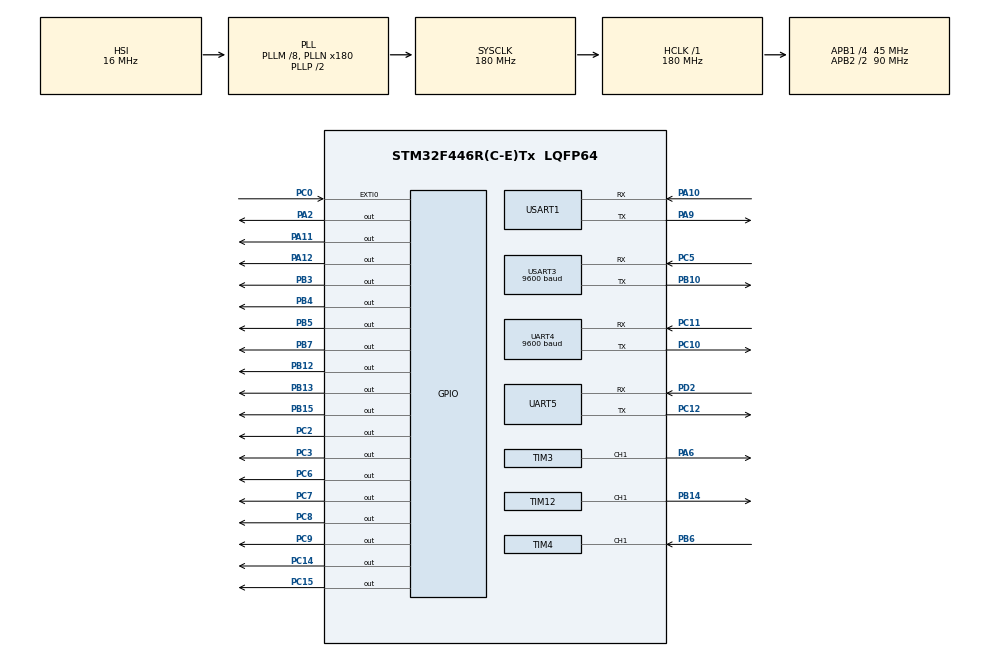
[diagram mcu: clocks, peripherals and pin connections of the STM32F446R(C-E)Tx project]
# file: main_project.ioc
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Dma.Request0=USART1_RX
Dma.Request1=USART1_TX
Dma.Request2=USART3_RX
Dma.Request3=UART4_RX
Dma.Request4=UART4_TX
Dma.UART4_RX.3.Direction=DMA_PERIPH_TO_MEMORY
Dma.UART4_RX.3.FIFOMode=DMA_FIFOMODE_DISABLE
Dma.UART4_RX.3.Instance=DMA1_Stream2
Dma.UART4_RX.3.MemDataAlignment=DMA_MDATAALIGN_BYTE
Dma.UART4_RX.3.MemInc=DMA_MINC_ENABLE
Dma.UART4_RX.3.Mode=DMA_NORMAL
Dma.UART4_RX.3.PeriphDataAlignment=DMA_PDATAALIGN_BYTE
Dma.UART4_RX.3.PeriphInc=DMA_PINC_DISABLE
Dma.UART4_RX.3.Priority=DMA_PRIORITY_LOW
Dma.UART4_TX.4.Direction=DMA_MEMORY_TO_PERIPH
Dma.UART4_TX.4.FIFOMode=DMA_FIFOMODE_DISABLE
Dma.UART4_TX.4.Instance=DMA1_Stream4
Dma.UART4_TX.4.MemDataAlignment=DMA_MDATAALIGN_BYTE
Dma.UART4_TX.4.MemInc=DMA_MINC_ENABLE
Dma.UART4_TX.4.Mode=DMA_NORMAL
Dma.UART4_TX.4.PeriphDataAlignment=DMA_PDATAALIGN_BYTE
Dma.UART4_TX.4.PeriphInc=DMA_PINC_DISABLE
Dma.UART4_TX.4.Priority=DMA_PRIORITY_LOW
Dma.USART1_RX.0.Direction=DMA_PERIPH_TO_MEMORY
Dma.USART1_RX.0.FIFOMode=DMA_FIFOMODE_DISABLE
Dma.USART1_RX.0.Instance=DMA2_Stream2
Dma.USART1_RX.0.MemDataAlignment=DMA_MDATAALIGN_BYTE
Dma.USART1_RX.0.MemInc=DMA_MINC_ENABLE
Dma.USART1_RX.0.Mode=DMA_NORMAL
Dma.USART1_RX.0.PeriphDataAlignment=DMA_PDATAALIGN_BYTE
Dma.USART1_RX.0.PeriphInc=DMA_PINC_DISABLE
Dma.USART1_RX.0.Priority=DMA_PRIORITY_LOW
Dma.USART1_TX.1.Direction=DMA_MEMORY_TO_PERIPH
Dma.USART1_TX.1.FIFOMode=DMA_FIFOMODE_DISABLE
Dma.USART1_TX.1.Instance=DMA2_Stream7
Dma.USART1_TX.1.MemDataAlignment=DMA_MDATAALIGN_BYTE
Dma.USART1_TX.1.MemInc=DMA_MINC_ENABLE
Dma.USART1_TX.1.Mode=DMA_NORMAL
Dma.USART1_TX.1.PeriphDataAlignment=DMA_PDATAALIGN_BYTE
Dma.USART1_TX.1.PeriphInc=DMA_PINC_DISABLE
Dma.USART1_TX.1.Priority=DMA_PRIORITY_LOW
Dma.USART3_RX.2.Direction=DMA_PERIPH_TO_MEMORY
Dma.USART3_RX.2.FIFOMode=DMA_FIFOMODE_DISABLE
Dma.USART3_RX.2.Instance=DMA1_Stream1
Dma.USART3_RX.2.MemDataAlignment=DMA_MDATAALIGN_BYTE
Dma.USART3_RX.2.MemInc=DMA_MINC_ENABLE
Dma.USART3_RX.2.Mode=DMA_NORMAL
Dma.USART3_RX.2.PeriphDataAlignment=DMA_PDATAALIGN_BYTE
Dma.USART3_RX.2.PeriphInc=DMA_PINC_DISABLE
Dma.USART3_RX.2.Priority=DMA_PRIORITY_MEDIUM
FREERTOS.INCLUDE_vTaskDelayUntil=1
FREERTOS.Tasks01=defaultTask,0,128,StartDefaultTask,Default,NULL,Dynamic,NULL,NULL
FREERTOS.configMAX_PRIORITIES=8
FREERTOS.configUSE_NEWLIB_REENTRANT=1
Mcu.Family=STM32F4
Mcu.Name=STM32F446R(C-E)Tx
Mcu.Package=LQFP64
NVIC.DMA1_Stream1_IRQn=true\:5\:0\:false\:false\:true\:true\:false\:true\:true
NVIC.DMA1_Stream2_IRQn=true\:5\:0\:false\:false\:true\:true\:false\:true\:true
NVIC.DMA1_Stream4_IRQn=true\:5\:0\:false\:false\:true\:true\:false\:true\:true
NVIC.DMA2_Stream2_IRQn=true\:5\:0\:false\:false\:true\:true\:false\:true\:true
NVIC.DMA2_Stream7_IRQn=true\:5\:0\:false\:false\:true\:true\:false\:true\:true
NVIC.EXTI0_IRQn=true\:5\:0\:false\:false\:true\:true\:true\:true\:true
NVIC.PriorityGroup=NVIC_PRIORITYGROUP_4
NVIC.TIM1_UP_TIM10_IRQn=true\:15\:0\:false\:false\:true\:false\:false\:true\:true
NVIC.TIM4_IRQn=true\:5\:0\:false\:false\:true\:true\:true\:true\:true
NVIC.TimeBase=TIM1_UP_TIM10_IRQn
NVIC.TimeBaseIP=TIM1
NVIC.UART4_IRQn=true\:5\:0\:false\:false\:true\:true\:true\:true\:true
NVIC.UART5_IRQn=true\:5\:0\:false\:false\:true\:true\:true\:true\:true
NVIC.USART1_IRQn=true\:5\:0\:false\:false\:true\:true\:true\:true\:true
PA10.Mode=Asynchronous
PA10.Signal=USART1_RX
PA11.Signal=GPIO_Output
PA12.Signal=GPIO_Output
PA2.Signal=GPIO_Output
PA6.Signal=S_TIM3_CH1
PA9.Mode=Asynchronous
PA9.Signal=USART1_TX
PB10.Mode=Asynchronous
PB10.Signal=USART3_TX
PB12.Signal=GPIO_Output
PB13.Signal=GPIO_Output
PB14.Signal=S_TIM12_CH1
PB15.Signal=GPIO_Output
PB3.Signal=GPIO_Output
PB4.Signal=GPIO_Output
PB5.Signal=GPIO_Output
PB6.Signal=S_TIM4_CH1
PB7.Signal=GPIO_Output
PC0.Signal=GPXTI0
PC10.Mode=Asynchronous
PC10.Signal=UART4_TX
PC11.Mode=Asynchronous
PC11.Signal=UART4_RX
PC12.Mode=Asynchronous
PC12.Signal=UART5_TX
PC14-OSC32_IN.Signal=GPIO_Output
PC15-OSC32_OUT.Signal=GPIO_Output
PC2.Signal=GPIO_Output
PC3.Signal=GPIO_Output
PC5.Mode=Asynchronous
PC5.Signal=USART3_RX
PC6.Signal=GPIO_Output
PC7.Signal=GPIO_Output
PC8.Signal=GPIO_Output
PC9.Signal=GPIO_Output
PD2.Mode=Asynchronous
PD2.Signal=UART5_RX
ProjectManager.HeapSize=0x200
ProjectManager.StackSize=0x400
ProjectManager.TargetToolchain=STM32CubeIDE
RCC.AHBFreq_Value=180000000
RCC.APB1CLKDivider=RCC_HCLK_DIV4
RCC.APB1Freq_Value=45000000
RCC.APB1TimFreq_Value=90000000
RCC.APB2CLKDivider=RCC_HCLK_DIV2
RCC.APB2Freq_Value=90000000
RCC.APB2TimFreq_Value=180000000
RCC.CortexFreq_Value=180000000
RCC.FLatency-AdvancedSettings=FLASH_LATENCY_5
RCC.HCLKFreq_Value=180000000
RCC.HSE_VALUE=8000000
RCC.HSI_VALUE=16000000
RCC.LSE_VALUE=32768
RCC.PLLM=8
RCC.PLLN=180
RCC.SYSCLKFreq_VALUE=180000000
RCC.SYSCLKSource=RCC_SYSCLKSOURCE_PLLCLK
RCC.USBFreq_Value=180000000
RCC.VCOOutputFreq_Value=360000000
SH.S_TIM12_CH1.0=TIM12_CH1,PWM Generation1 CH1
SH.S_TIM3_CH1.0=TIM3_CH1,PWM Generation1 CH1
SH.S_TIM4_CH1.0=TIM4_CH1,Input_Capture1_from_TI1
TIM12.Channel-PWM\ Generation1\ CH1=TIM_CHANNEL_1
TIM12.Period=99
TIM12.Prescaler=29
TIM3.Channel-PWM\ Generation1\ CH1=TIM_CHANNEL_1
TIM3.Period=99
TIM3.Prescaler=29
TIM4.Channel-Input_Capture1_from_TI1=TIM_CHANNEL_1
TIM4.ICFilter_CH1=4
TIM4.ICPolarity_CH1=TIM_INPUTCHANNELPOLARITY_BOTHEDGE
TIM4.Prescaler=15
UART4.BaudRate=9600
UART4.VirtualMode=Asynchronous
UART5.VirtualMode=Asynchronous
USART1.VirtualMode=VM_ASYNC
USART3.BaudRate=9600
USART3.VirtualMode=VM_ASYNC
VP_FREERTOS_VS_CMSIS_V1.Mode=CMSIS_V1
VP_SYS_VS_tim1.Mode=TIM1
VP_TIM12_VS_ClockSourceINT.Mode=Internal
VP_TIM3_VS_ClockSourceINT.Mode=Internal
VP_TIM4_VS_ClockSourceINT.Mode=Internal
board=NUCLEO-F446RE

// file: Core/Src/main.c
/* USER CODE BEGIN Header */
/**
 ******************************************************************************
 * @file           : main.c
 * @brief          : Main program body
 ******************************************************************************
 * @attention
 *
 * Copyright (c) 2023 STMicroelectronics.
 * All rights reserved.
 *
 * This software is licensed under terms that can be found in the LICENSE file
 * in the root directory of this software component.
 * If no LICENSE file comes with this software, it is provided AS-IS.
 *
 ******************************************************************************
 */
/* USER CODE END Header */
#include "main.h"

/* USER CODE BEGIN Includes */
#include "FreeRTOS.h"
#include "task.h"
#include "queue.h"
#include "semphr.h"
#include "application_tasks.h"
#include "interrupts_callback.h"

#include "NMEA.h"
#include "uartRingBuffer.h"
#include "CLCD_interface.h"
#include "gps.h"

/* USER CODE END Includes */

TIM_HandleTypeDef htim3;
TIM_HandleTypeDef htim4;
TIM_HandleTypeDef htim12;

UART_HandleTypeDef huart4;
UART_HandleTypeDef huart5;
UART_HandleTypeDef huart1;
UART_HandleTypeDef huart3;
DMA_HandleTypeDef hdma_uart4_rx;
DMA_HandleTypeDef hdma_uart4_tx;
DMA_HandleTypeDef hdma_usart1_rx;
DMA_HandleTypeDef hdma_usart1_tx;
DMA_HandleTypeDef hdma_usart3_rx;

/* USER CODE BEGIN PV */

/* Message Variables */
int8_t rx_buffer[34] = { 0 };
int8_t tx_buffer[34] = { 0 };
int8_t arrest_message_buffer[11] = { 0 };
char second_car_latitude[11] = { 0 };
char second_car_longitude[11] = { 0 };
char second_car_direction[8] = { 0 };

/* Blue-tooth Variables*/
int8_t bluetooth_received_character = 0;
int8_t car_control_character = 0;
int8_t bluetooth_mode = BLTH_CAR_CTL_MODE;

/* RTOS Handles and Semaphores */
xSemaphoreHandle send_message_semaphore;
xSemaphoreHandle receive_message_semaphore;
xSemaphoreHandle bluetooth_message_semaphore;

TaskHandle_t send_message_task_handle;
TaskHandle_t car_control_task_handle;

/* Speed Sensor Variables*/
volatile uint16_t slit_count = 0;

/* GPS variables */
double my_car_latitude = 0.0;
double my_car_longitude = 0.0;
char north_south = 'N';
char east_west = 'E';
double car_direction = 0.0;
GPSSTRUCT GGAST;
extern ring_buffer *_rx_buffer;

/* Ultra-sonic Variables */
uint8_t icFlag = 0;
uint8_t edgeNumber = 0;
uint32_t edge1Time = 0;
uint32_t edge2Time = 0;

/* LCD Variables */
uint8_t Upper_Left[8] = { 0x00, 0x01, 0x02, 0x04, 0x08, 0x10, 0x10, 0x10 };
uint8_t Upper_Right[8] = { 0x00, 0x10, 0x08, 0x04, 0x02, 0x01, 0x01, 0x01 };
uint8_t Lower_Left[8] = { 0x10, 0x10, 0x10, 0x08, 0x04, 0x02, 0x01, 0x00 };
uint8_t Lower_Right[8] = { 0x01, 0x01, 0x01, 0x02, 0x04, 0x08, 0x10, 0x00 };
uint8_t Lower_Mid[8] = { 0x04, 0x04, 0x04, 0x04, 0x0E, 0x00, 0x00, 0x1F };
uint8_t Upper_Mid[8] = { 0x1F, 0x00, 0x00, 0x00, 0x04, 0x00, 0x0C, 0x04 };

int8_t message_sending_mode = WARNING_MSG_MODE;

/* USER CODE END PV */

void SystemClock_Config(void);
static void MX_GPIO_Init(void);
static void MX_DMA_Init(void);
static void MX_USART1_UART_Init(void);
static void MX_TIM3_Init(void);
static void MX_TIM4_Init(void);
static void MX_TIM12_Init(void);
static void MX_UART4_Init(void);
static void MX_UART5_Init(void);
static void MX_USART3_UART_Init(void);

/* USER CODE BEGIN 0 */

void Task_initialization(void *parameters) {

	int8_t wifi_ready_signal = 0;
	uint8_t wifi_timeout_count = 0;

	// Timer PWM for the car motor
	HAL_TIM_PWM_Start(&htim3, TIM_CHANNEL_1);
	HAL_TIM_PWM_Start(&htim12, TIM_CHANNEL_1);

	/* Print the welcome message on the LCD */
	CLCD_voidInit();
	CLCD_voidGoToXY(0, 0);
	CLCD_voidSendString("WELCOME TO V2X");
	CLCD_voidGoToXY(1, 2);
	CLCD_voidSendString("GP: 2023");

	vTaskDelay(3000 / portTICK_RATE_MS);

	// Clearing the buffer
	while ((USART1->SR & USART_SR_RXNE) != 0) {
		uint8_t dummy = USART1->DR; // Read and discard received data
		(void) dummy; // Avoid compiler warnings
	}

	HAL_UART_Transmit(&huart1, (uint8_t*) "I", 1, 15000);

	HAL_UART_Receive(&huart1, (uint8_t*) &wifi_ready_signal, 1, 15000);

	if (wifi_ready_signal == 0) {
		CLCD_voidDisplayClear();
		CLCD_voidGoToXY(0, 0);
		CLCD_voidSendString("NO WIFI");
	} else {
		CLCD_voidDisplayClear();
		CLCD_voidGoToXY(0, 0);
		CLCD_voidSendString("RUNNING");

	}

	/* Initialize the semaphores */
	send_message_semaphore = xSemaphoreCreateBinary();
	receive_message_semaphore = xSemaphoreCreateBinary();
	bluetooth_message_semaphore = xSemaphoreCreateBinary();

#if 0
	/* Initialize Ring Buffer */
	Ringbuf_init();

	/* Initialize GPS */
	GPS_init();

	xTaskCreate(&Task_readingGPS, "GPS_Reading", 240, NULL, 2,
	NULL);

	xTaskCreate(&Task_directionOfCar, "Car_direction", 240, NULL, 5,
	NULL);
#endif
	xTaskCreate(&Task_handleReceivedMessage, "Message_Handling", 240, NULL, 4,
	NULL);

	xTaskCreate(&Task_speedCalculation, "Speed_Calculation", 240, NULL, 5,
	NULL);

	xTaskCreate(&Task_sendMessage, "Message_Sending", 240, NULL, 6,
			&send_message_task_handle);

	xTaskCreate(&Task_arrestMessageHandler, "Bluetooth", 240, NULL, 3,
	NULL);

	xTaskCreate(&Task_controlCar, "Car_Control", 240, NULL, 7,
			&car_control_task_handle);

	// HAL_UART_Transmit_DMA(&huart1, (uint8_t*) "I", 1);

	// HAL_UART_Receive_IT(&huart1, (uint8_t*) &wifi_ready_signal, 1);

//	/* Make sure the WIFI is ready */
//	do {
//		/* Send the character 'I' and wait until the WIFI responds with 'R' */
//		HAL_UART_Transmit(&huart1, (uint8_t*) "I", 1, 600);
//		HAL_UART_Receive(&huart1, (uint8_t*) &wifi_ready_signal, 1, 600);
//	} while (wifi_ready_signal != 'R');

	/* Delete the initialization task to start running other tasks */
	vTaskDelete(NULL);
}

/* USER CODE END 0 */

int main(void) {

	/* MCU Configuration--------------------------------------------------------*/

	/* Reset of all peripherals, Initializes the Flash interface and the Systick. */
	HAL_Init();

	/* Configure the system clock */
	SystemClock_Config();

	/* Initialize all configured peripherals */
	MX_GPIO_Init();
	MX_DMA_Init();
	MX_USART1_UART_Init();
	MX_TIM3_Init();
	MX_TIM4_Init();
	MX_TIM12_Init();
	MX_UART4_Init();
	MX_UART5_Init();
	MX_USART3_UART_Init();

	/* USER CODE BEGIN RTOS_THREADS */
	xTaskCreate(&Task_initialization, "Initialization", 240, NULL, 8,
	NULL);
	/* USER CODE END RTOS_THREADS */

	/* Start scheduler */
	vTaskStartScheduler();

	/* We should never get here as control is now taken by the scheduler */
	/* Infinite loop */
	while (1) {

	}
}

void SystemClock_Config(void) {
	RCC_OscInitTypeDef RCC_OscInitStruct = { 0 };
	RCC_ClkInitTypeDef RCC_ClkInitStruct = { 0 };

	/** Configure the main internal regulator output voltage
	 */
	__HAL_RCC_PWR_CLK_ENABLE();
	__HAL_PWR_VOLTAGESCALING_CONFIG(PWR_REGULATOR_VOLTAGE_SCALE1);

	/** Initializes the RCC Oscillators according to the specified parameters
	 * in the RCC_OscInitTypeDef structure.
	 */
	RCC_OscInitStruct.OscillatorType = RCC_OSCILLATORTYPE_HSI;
	RCC_OscInitStruct.HSIState = RCC_HSI_ON;
	RCC_OscInitStruct.HSICalibrationValue = RCC_HSICALIBRATION_DEFAULT;
	RCC_OscInitStruct.PLL.PLLState = RCC_PLL_ON;
	RCC_OscInitStruct.PLL.PLLSource = RCC_PLLSOURCE_HSI;
	RCC_OscInitStruct.PLL.PLLM = 8;
	RCC_OscInitStruct.PLL.PLLN = 180;
	RCC_OscInitStruct.PLL.PLLP = RCC_PLLP_DIV2;
	RCC_OscInitStruct.PLL.PLLQ = 2;
	RCC_OscInitStruct.PLL.PLLR = 2;
	if (HAL_RCC_OscConfig(&RCC_OscInitStruct) != HAL_OK) {
		Error_Handler();
	}

	/** Activate the Over-Drive mode
	 */
	if (HAL_PWREx_EnableOverDrive() != HAL_OK) {
		Error_Handler();
	}

	/** Initializes the CPU, AHB and APB buses clocks
	 */
	RCC_ClkInitStruct.ClockType = RCC_CLOCKTYPE_HCLK | RCC_CLOCKTYPE_SYSCLK
			| RCC_CLOCKTYPE_PCLK1 | RCC_CLOCKTYPE_PCLK2;
	RCC_ClkInitStruct.SYSCLKSource = RCC_SYSCLKSOURCE_PLLCLK;
	RCC_ClkInitStruct.AHBCLKDivider = RCC_SYSCLK_DIV1;
	RCC_ClkInitStruct.APB1CLKDivider = RCC_HCLK_DIV4;
	RCC_ClkInitStruct.APB2CLKDivider = RCC_HCLK_DIV2;

	if (HAL_RCC_ClockConfig(&RCC_ClkInitStruct, FLASH_LATENCY_5) != HAL_OK) {
		Error_Handler();
	}
}

static void MX_TIM3_Init(void) {

	TIM_ClockConfigTypeDef sClockSourceConfig = { 0 };
	TIM_MasterConfigTypeDef sMasterConfig = { 0 };
	TIM_OC_InitTypeDef sConfigOC = { 0 };

	htim3.Instance = TIM3;
	htim3.Init.Prescaler = 29;
	htim3.Init.CounterMode = TIM_COUNTERMODE_UP;
	htim3.Init.Period = 99;
	htim3.Init.ClockDivision = TIM_CLOCKDIVISION_DIV1;
	htim3.Init.AutoReloadPreload = TIM_AUTORELOAD_PRELOAD_DISABLE;
	if (HAL_TIM_Base_Init(&htim3) != HAL_OK) {
		Error_Handler();
	}
	sClockSourceConfig.ClockSource = TIM_CLOCKSOURCE_INTERNAL;
	if (HAL_TIM_ConfigClockSource(&htim3, &sClockSourceConfig) != HAL_OK) {
		Error_Handler();
	}
	if (HAL_TIM_PWM_Init(&htim3) != HAL_OK) {
		Error_Handler();
	}
	sMasterConfig.MasterOutputTrigger = TIM_TRGO_RESET;
	sMasterConfig.MasterSlaveMode = TIM_MASTERSLAVEMODE_DISABLE;
	if (HAL_TIMEx_MasterConfigSynchronization(&htim3, &sMasterConfig)
			!= HAL_OK) {
		Error_Handler();
	}
	sConfigOC.OCMode = TIM_OCMODE_PWM1;
	sConfigOC.Pulse = 0;
	sConfigOC.OCPolarity = TIM_OCPOLARITY_HIGH;
	sConfigOC.OCFastMode = TIM_OCFAST_DISABLE;
	if (HAL_TIM_PWM_ConfigChannel(&htim3, &sConfigOC, TIM_CHANNEL_1)
			!= HAL_OK) {
		Error_Handler();
	}
	HAL_TIM_MspPostInit(&htim3);

}

static void MX_TIM4_Init(void) {

	TIM_ClockConfigTypeDef sClockSourceConfig = { 0 };
	TIM_MasterConfigTypeDef sMasterConfig = { 0 };
	TIM_IC_InitTypeDef sConfigIC = { 0 };

	htim4.Instance = TIM4;
	htim4.Init.Prescaler = 15;
	htim4.Init.CounterMode = TIM_COUNTERMODE_UP;
	htim4.Init.Period = 65535;
	htim4.Init.ClockDivision = TIM_CLOCKDIVISION_DIV1;
	htim4.Init.AutoReloadPreload = TIM_AUTORELOAD_PRELOAD_DISABLE;
	if (HAL_TIM_Base_Init(&htim4) != HAL_OK) {
		Error_Handler();
	}
	sClockSourceConfig.ClockSource = TIM_CLOCKSOURCE_INTERNAL;
	if (HAL_TIM_ConfigClockSource(&htim4, &sClockSourceConfig) != HAL_OK) {
		Error_Handler();
	}
	if (HAL_TIM_IC_Init(&htim4) != HAL_OK) {
		Error_Handler();
	}
	sMasterConfig.MasterOutputTrigger = TIM_TRGO_RESET;
	sMasterConfig.MasterSlaveMode = TIM_MASTERSLAVEMODE_DISABLE;
	if (HAL_TIMEx_MasterConfigSynchronization(&htim4, &sMasterConfig)
			!= HAL_OK) {
		Error_Handler();
	}
	sConfigIC.ICPolarity = TIM_INPUTCHANNELPOLARITY_BOTHEDGE;
	sConfigIC.ICSelection = TIM_ICSELECTION_DIRECTTI;
	sConfigIC.ICPrescaler = TIM_ICPSC_DIV1;
	sConfigIC.ICFilter = 4;
	if (HAL_TIM_IC_ConfigChannel(&htim4, &sConfigIC, TIM_CHANNEL_1) != HAL_OK) {
		Error_Handler();
	}

}

static void MX_TIM12_Init(void) {

	TIM_ClockConfigTypeDef sClockSourceConfig = { 0 };
	TIM_OC_InitTypeDef sConfigOC = { 0 };

	htim12.Instance = TIM12;
	htim12.Init.Prescaler = 29;
	htim12.Init.CounterMode = TIM_COUNTERMODE_UP;
	htim12.Init.Period = 99;
	htim12.Init.ClockDivision = TIM_CLOCKDIVISION_DIV1;
	htim12.Init.AutoReloadPreload = TIM_AUTORELOAD_PRELOAD_DISABLE;
	if (HAL_TIM_Base_Init(&htim12) != HAL_OK) {
		Error_Handler();
	}
	sClockSourceConfig.ClockSource = TIM_CLOCKSOURCE_INTERNAL;
	if (HAL_TIM_ConfigClockSource(&htim12, &sClockSourceConfig) != HAL_OK) {
		Error_Handler();
	}
	if (HAL_TIM_PWM_Init(&htim12) != HAL_OK) {
		Error_Handler();
	}
	sConfigOC.OCMode = TIM_OCMODE_PWM1;
	sConfigOC.Pulse = 0;
	sConfigOC.OCPolarity = TIM_OCPOLARITY_HIGH;
	sConfigOC.OCFastMode = TIM_OCFAST_DISABLE;
	if (HAL_TIM_PWM_ConfigChannel(&htim12, &sConfigOC, TIM_CHANNEL_1)
			!= HAL_OK) {
		Error_Handler();
	}
	HAL_TIM_MspPostInit(&htim12);

}

static void MX_UART4_Init(void) {

	huart4.Instance = UART4;
	huart4.Init.BaudRate = 9600;
	huart4.Init.WordLength = UART_WORDLENGTH_8B;
	huart4.Init.StopBits = UART_STOPBITS_1;
	huart4.Init.Parity = UART_PARITY_NONE;
	huart4.Init.Mode = UART_MODE_TX_RX;
	huart4.Init.HwFlowCtl = UART_HWCONTROL_NONE;
	huart4.Init.OverSampling = UART_OVERSAMPLING_16;
	if (HAL_UART_Init(&huart4) != HAL_OK) {
		Error_Handler();
	}

}

static void MX_UART5_Init(void) {

	huart5.Instance = UART5;
	huart5.Init.BaudRate = 115200;
	huart5.Init.WordLength = UART_WORDLENGTH_8B;
	huart5.Init.StopBits = UART_STOPBITS_1;
	huart5.Init.Parity = UART_PARITY_NONE;
	huart5.Init.Mode = UART_MODE_TX_RX;
	huart5.Init.HwFlowCtl = UART_HWCONTROL_NONE;
	huart5.Init.OverSampling = UART_OVERSAMPLING_16;
	if (HAL_UART_Init(&huart5) != HAL_OK) {
		Error_Handler();
	}

}

static void MX_USART1_UART_Init(void) {

	huart1.Instance = USART1;
	huart1.Init.BaudRate = 115200;
	huart1.Init.WordLength = UART_WORDLENGTH_8B;
	huart1.Init.StopBits = UART_STOPBITS_1;
	huart1.Init.Parity = UART_PARITY_NONE;
	huart1.Init.Mode = UART_MODE_TX_RX;
	huart1.Init.HwFlowCtl = UART_HWCONTROL_NONE;
	huart1.Init.OverSampling = UART_OVERSAMPLING_16;
	if (HAL_UART_Init(&huart1) != HAL_OK) {
		Error_Handler();
	}

}

static void MX_USART3_UART_Init(void) {

	huart3.Instance = USART3;
	huart3.Init.BaudRate = 9600;
	huart3.Init.WordLength = UART_WORDLENGTH_8B;
	huart3.Init.StopBits = UART_STOPBITS_1;
	huart3.Init.Parity = UART_PARITY_NONE;
	huart3.Init.Mode = UART_MODE_TX_RX;
	huart3.Init.HwFlowCtl = UART_HWCONTROL_NONE;
	huart3.Init.OverSampling = UART_OVERSAMPLING_16;
	if (HAL_UART_Init(&huart3) != HAL_OK) {
		Error_Handler();
	}

}

static void MX_DMA_Init(void) {

	/* DMA controller clock enable */
	__HAL_RCC_DMA2_CLK_ENABLE();
	__HAL_RCC_DMA1_CLK_ENABLE();

	/* DMA interrupt init */
	/* DMA1_Stream1_IRQn interrupt configuration */
	HAL_NVIC_SetPriority(DMA1_Stream1_IRQn, 5, 0);
	HAL_NVIC_EnableIRQ(DMA1_Stream1_IRQn);
	/* DMA1_Stream2_IRQn interrupt configuration */
	HAL_NVIC_SetPriority(DMA1_Stream2_IRQn, 5, 0);
	HAL_NVIC_EnableIRQ(DMA1_Stream2_IRQn);
	/* DMA1_Stream4_IRQn interrupt configuration */
	HAL_NVIC_SetPriority(DMA1_Stream4_IRQn, 5, 0);
	HAL_NVIC_EnableIRQ(DMA1_Stream4_IRQn);
	/* DMA2_Stream2_IRQn interrupt configuration */
	HAL_NVIC_SetPriority(DMA2_Stream2_IRQn, 5, 0);
	HAL_NVIC_EnableIRQ(DMA2_Stream2_IRQn);
	/* DMA2_Stream7_IRQn interrupt configuration */
	HAL_NVIC_SetPriority(DMA2_Stream7_IRQn, 5, 0);
	HAL_NVIC_EnableIRQ(DMA2_Stream7_IRQn);

}

static void MX_GPIO_Init(void) {
	GPIO_InitTypeDef GPIO_InitStruct = { 0 };

	/* GPIO Ports Clock Enable */
	__HAL_RCC_GPIOC_CLK_ENABLE();
	__HAL_RCC_GPIOA_CLK_ENABLE();
	__HAL_RCC_GPIOB_CLK_ENABLE();
	__HAL_RCC_GPIOD_CLK_ENABLE();

	/*Configure GPIO pin Output Level */
	HAL_GPIO_WritePin(GPIOC,
			GPIO_PIN_14 | GPIO_PIN_15 | GPIO_PIN_2 | GPIO_PIN_3 | GPIO_PIN_6
					| GPIO_PIN_7 | GPIO_PIN_8 | GPIO_PIN_9, GPIO_PIN_RESET);

	/*Configure GPIO pin Output Level */
	HAL_GPIO_WritePin(GPIOA, GPIO_PIN_2 | GPIO_PIN_11 | GPIO_PIN_12,
			GPIO_PIN_RESET);

	/*Configure GPIO pin Output Level */
	HAL_GPIO_WritePin(GPIOB,
			GPIO_PIN_12 | GPIO_PIN_13 | GPIO_PIN_15 | GPIO_PIN_3 | GPIO_PIN_4
					| GPIO_PIN_5 | GPIO_PIN_7, GPIO_PIN_RESET);

	/*Configure GPIO pins : PC14 PC15 PC2 PC3
	 PC6 PC7 PC8 PC9 */
	GPIO_InitStruct.Pin = GPIO_PIN_14 | GPIO_PIN_15 | GPIO_PIN_2 | GPIO_PIN_3
			| GPIO_PIN_6 | GPIO_PIN_7 | GPIO_PIN_8 | GPIO_PIN_9;
	GPIO_InitStruct.Mode = GPIO_MODE_OUTPUT_PP;
	GPIO_InitStruct.Pull = GPIO_NOPULL;
	GPIO_InitStruct.Speed = GPIO_SPEED_FREQ_LOW;
	HAL_GPIO_Init(GPIOC, &GPIO_InitStruct);

	/*Configure GPIO pin : PC0 */
	GPIO_InitStruct.Pin = GPIO_PIN_0;
	GPIO_InitStruct.Mode = GPIO_MODE_IT_RISING;
	GPIO_InitStruct.Pull = GPIO_NOPULL;
	HAL_GPIO_Init(GPIOC, &GPIO_InitStruct);

	/*Configure GPIO pins : PA2 PA11 PA12 */
	GPIO_InitStruct.Pin = GPIO_PIN_2 | GPIO_PIN_11 | GPIO_PIN_12;
	GPIO_InitStruct.Mode = GPIO_MODE_OUTPUT_PP;
	GPIO_InitStruct.Pull = GPIO_NOPULL;
	GPIO_InitStruct.Speed = GPIO_SPEED_FREQ_LOW;
	HAL_GPIO_Init(GPIOA, &GPIO_InitStruct);

	/*Configure GPIO pins : PB12 PB13 PB15 PB3
	 PB4 PB5 PB7 */
	GPIO_InitStruct.Pin = GPIO_PIN_12 | GPIO_PIN_13 | GPIO_PIN_15 | GPIO_PIN_3
			| GPIO_PIN_4 | GPIO_PIN_5 | GPIO_PIN_7;
	GPIO_InitStruct.Mode = GPIO_MODE_OUTPUT_PP;
	GPIO_InitStruct.Pull = GPIO_NOPULL;
	GPIO_InitStruct.Speed = GPIO_SPEED_FREQ_LOW;
	HAL_GPIO_Init(GPIOB, &GPIO_InitStruct);

	/* EXTI interrupt init*/
	HAL_NVIC_SetPriority(EXTI0_IRQn, 5, 0);
	HAL_NVIC_EnableIRQ(EXTI0_IRQn);

}

void HAL_TIM_PeriodElapsedCallback(TIM_HandleTypeDef *htim) {
	if (htim->Instance == TIM1) {
		HAL_IncTick();
	}
}

void Error_Handler(void) {
	__disable_irq();
	while (1) {
	}
}
